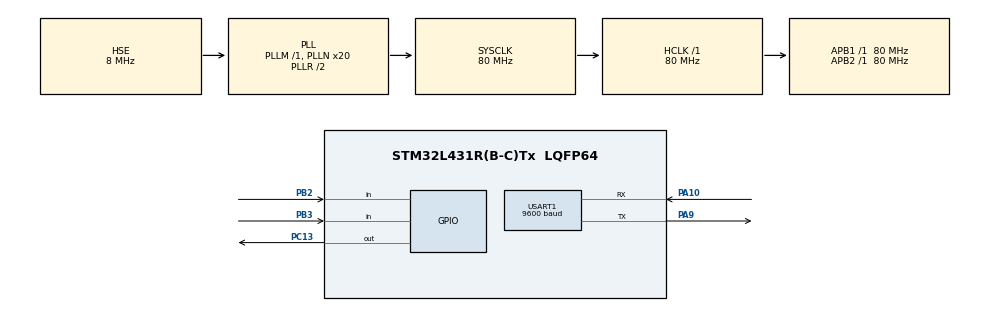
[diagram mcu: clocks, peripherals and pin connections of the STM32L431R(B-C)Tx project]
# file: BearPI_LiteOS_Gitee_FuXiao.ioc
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Mcu.Family=STM32L4
Mcu.Name=STM32L431R(B-C)Tx
Mcu.Package=LQFP64
NVIC.PriorityGroup=NVIC_PRIORITYGROUP_4
NVIC.TIM1_UP_TIM16_IRQn=true\:0\:0\:false\:false\:true\:false\:true
NVIC.TimeBase=TIM1_UP_TIM16_IRQn
NVIC.TimeBaseIP=TIM1
PA10.Mode=Asynchronous
PA10.Signal=USART1_RX
PA13\ (JTMS-SWDIO).Mode=Serial_Wire
PA13\ (JTMS-SWDIO).Signal=SYS_JTMS-SWDIO
PA14\ (JTCK-SWCLK).Mode=Serial_Wire
PA14\ (JTCK-SWCLK).Signal=SYS_JTCK-SWCLK
PA9.Mode=Asynchronous
PA9.Signal=USART1_TX
PB2.GPIO_PuPd=GPIO_PULLUP
PB2.Signal=GPIO_Input
PB3\ (JTDO-TRACESWO).GPIO_PuPd=GPIO_PULLUP
PB3\ (JTDO-TRACESWO).Signal=GPIO_Input
PC13.PinState=GPIO_PIN_SET
PC13.Signal=GPIO_Output
PH0-OSC_IN\ (PH0).Mode=HSE-External-Oscillator
PH0-OSC_IN\ (PH0).Signal=RCC_OSC_IN
PH1-OSC_OUT\ (PH1).Mode=HSE-External-Oscillator
PH1-OSC_OUT\ (PH1).Signal=RCC_OSC_OUT
ProjectManager.HeapSize=0x200
ProjectManager.StackSize=0x400
ProjectManager.TargetToolchain=MDK-ARM V5.27
RCC.ADCFreq_Value=32000000
RCC.AHBFreq_Value=80000000
RCC.APB1Freq_Value=80000000
RCC.APB1TimFreq_Value=80000000
RCC.APB2Freq_Value=80000000
RCC.APB2TimFreq_Value=80000000
RCC.CortexFreq_Value=80000000
RCC.HCLKFreq_Value=80000000
RCC.HSE_VALUE=8000000
RCC.HSI48_VALUE=48000000
RCC.HSI_VALUE=16000000
RCC.LSE_VALUE=32768
RCC.MSI_VALUE=4000000
RCC.PLLN=20
RCC.PLLSourceVirtual=RCC_PLLSOURCE_HSE
RCC.SYSCLKFreq_VALUE=80000000
RCC.SYSCLKSource=RCC_SYSCLKSOURCE_PLLCLK
RCC.VCOOutputFreq_Value=160000000
USART1.BaudRate=9600
USART1.VirtualMode-Asynchronous=VM_ASYNC
VP_SYS_VS_tim1.Mode=TIM1
board=custom

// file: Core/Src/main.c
/* USER CODE BEGIN Header */
/**
  ******************************************************************************
  * @file           : main.c
  * @brief          : Main program body
  ******************************************************************************
  * @attention
  *
  * <h2><center>&copy; Copyright (c) 2022 STMicroelectronics.
  * All rights reserved.</center></h2>
  *
  * This software component is licensed by ST under BSD 3-Clause license,
  * the "License"; You may not use this file except in compliance with the
  * License. You may obtain a copy of the License at:
  *                        opensource.org/licenses/BSD-3-Clause
  *
  ******************************************************************************
  */
/* USER CODE END Header */
#include "main.h"
#include "usart.h"
#include "gpio.h"

/* USER CODE BEGIN Includes */
 /* LiteOS 头文件 */
#include "los_sys.h"
#include "los_task.ph"
/* USER CODE END Includes */

/* USER CODE BEGIN PV */
/* 定义任务句柄 */
UINT32 LED_Task_Handle;
UINT32 Key_Task_Handle;
/* USER CODE END PV */

void SystemClock_Config(void);
/* USER CODE BEGIN PFP */
/* 函数声明 */
static UINT32 AppTaskCreate(void);
static UINT32 Creat_LED_Task(void);
static UINT32 Creat_Key_Task(void);
static void LED_Task(void);
static void Key_Task(void);
/* USER CODE END PFP */

/* USER CODE BEGIN 0 */
/*********************************************************************
  * @ 函数名  ： AppTaskCreate
  * @ 功能说明： 任务创建，为了方便管理，所有的任务创建函数都可以放在这个函数里面
  * @ 参数    ： 无
  * @ 返回值  ： 无
  *******************************************************************/
static UINT32 AppTaskCreate(void)
{
	/* 定义一个返回类型变量，初始化为LOS_OK */
	UINT32 uwRet = LOS_OK;

	uwRet = Creat_LED_Task();
  if (uwRet != LOS_OK)
  {
		printf("LED_Task任务创建失败！失败代码0x%X\n",uwRet);
		return uwRet;
  }

	uwRet = Creat_Key_Task();
  if (uwRet != LOS_OK)
  {
		printf("Key_Task任务创建失败！失败代码0x%X\n",uwRet);
		return uwRet;
  }
	return LOS_OK;
}

/******************************************************************
  * @ 函数名  ： Creat_LED_Task
  * @ 功能说明： 创建LED_Task任务
  * @ 参数    ：
  * @ 返回值  ： 无
  ******************************************************************/
static UINT32 Creat_LED_Task()
{
	//定义一个创建任务的返回类型，初始化为创建成功的返回值
	UINT32 uwRet = LOS_OK;

	//定义一个用于创建任务的参数结构体
	TSK_INIT_PARAM_S task_init_param;

	task_init_param.usTaskPrio = 5;	/* 任务优先级，数值越小，优先级越高 */
	task_init_param.pcName = "LED_Task";/* 任务名 */
	task_init_param.pfnTaskEntry = (TSK_ENTRY_FUNC)LED_Task;/* 任务函数入口 */
	task_init_param.uwStackSize = 1024;		/* 堆栈大小 */

	uwRet = LOS_TaskCreate(&LED_Task_Handle, &task_init_param);/* 创建任务 */
	return uwRet;
}
/*******************************************************************
  * @ 函数名  ： Creat_Key_Task
  * @ 功能说明： 创建Key_Task任务
  * @ 参数    ：
  * @ 返回值  ： 无
  ******************************************************************/
static UINT32 Creat_Key_Task()
{
	// 定义一个创建任务的返回类型，初始化为创建成功的返回值
	UINT32 uwRet = LOS_OK;
	TSK_INIT_PARAM_S task_init_param;

	task_init_param.usTaskPrio = 4;	/* 任务优先级，数值越小，优先级越高 */
	task_init_param.pcName = "Key_Task";	/* 任务名*/
	task_init_param.pfnTaskEntry = (TSK_ENTRY_FUNC)Key_Task;/* 任务函数入口 */
	task_init_param.uwStackSize = 1024;	/* 堆栈大小 */

	uwRet = LOS_TaskCreate(&Key_Task_Handle, &task_init_param);/* 创建任务 */

	return uwRet;
}

/******************************************************************
  * @ 函数名  ： LED_Task
  * @ 功能说明： LED_Task任务实现
  * @ 参数    ： NULL
  * @ 返回值  ： NULL
  *****************************************************************/
static void LED_Task(void)
{
  /* 任务都是一个无限循环，不能返回 */
	while(1)
	{
		HAL_GPIO_TogglePin(GPIOC,GPIO_PIN_13);    //LED1翻转
		printf("LED任务正在运行！\n");
		LOS_TaskDelay(1000);
	}
}
/******************************************************************
  * @ 函数名  ： Key_Task
  * @ 功能说明： Key_Task任务实现
  * @ 参数    ： NULL
  * @ 返回值  ： NULL
  *****************************************************************/
static void Key_Task(void)
{
	UINT32 uwRet = LOS_OK;

	/* 任务都是一个无限循环，不能返回 */
	while(1)
	{
		/* K1 被按下 */
		if( Key_Scan(KEY1_GPIO_PORT,KEY1_GPIO_PIN) == KEY_ON )
		{
			printf("挂起LED任务！\n");
			uwRet = LOS_TaskSuspend(LED_Task_Handle);/* 挂起LED1任务 */
			if(LOS_OK == uwRet)
			{
				printf("挂起LED任务成功！\n");
			}
		}
		/* K2 被按下 */
		else if( Key_Scan(KEY2_GPIO_PORT,KEY2_GPIO_PIN) == KEY_ON )
		{
			printf("恢复LED任务！\n");
			uwRet = LOS_TaskResume(LED_Task_Handle); /* 恢复LED1任务 */
			if(LOS_OK == uwRet)
			{
				printf("恢复LED任务成功！\n");
			}

		}
		LOS_TaskDelay(20);   /* 20ms扫描一次 */
	}
}
/* USER CODE END 0 */

int main(void)
{

  /* MCU Configuration--------------------------------------------------------*/

  /* Reset of all peripherals, Initializes the Flash interface and the Systick. */
  HAL_Init();

  /* Configure the system clock */
  SystemClock_Config();

  /* Initialize all configured peripherals */
  MX_GPIO_Init();
  MX_USART1_UART_Init();
  /* USER CODE BEGIN 2 */
	UINT32 uwRet = LOS_OK;  //定义一个任务创建的返回值，默认为创建成功
/* LiteOS 内核初始化 */
	uwRet = LOS_KernelInit();

  if (uwRet != LOS_OK)
  {
		printf("LiteOS 核心初始化失败！失败代码0x%X\n",uwRet);
		return LOS_NOK;
  }

	uwRet = AppTaskCreate();
	if (uwRet != LOS_OK)
  {
		printf("AppTaskCreate创建任务失败！失败代码0x%X\n",uwRet);
		return LOS_NOK;
  }

  /* 开启LiteOS任务调度 */
  LOS_Start();
  /* USER CODE END 2 */

  /* Infinite loop */
  while (1)
  {

  }
}

void SystemClock_Config(void)
{
  RCC_OscInitTypeDef RCC_OscInitStruct = {0};
  RCC_ClkInitTypeDef RCC_ClkInitStruct = {0};
  RCC_PeriphCLKInitTypeDef PeriphClkInit = {0};

  /** Initializes the RCC Oscillators according to the specified parameters
  * in the RCC_OscInitTypeDef structure.
  */
  RCC_OscInitStruct.OscillatorType = RCC_OSCILLATORTYPE_HSE;
  RCC_OscInitStruct.HSEState = RCC_HSE_ON;
  RCC_OscInitStruct.PLL.PLLState = RCC_PLL_ON;
  RCC_OscInitStruct.PLL.PLLSource = RCC_PLLSOURCE_HSE;
  RCC_OscInitStruct.PLL.PLLM = 1;
  RCC_OscInitStruct.PLL.PLLN = 20;
  RCC_OscInitStruct.PLL.PLLP = RCC_PLLP_DIV7;
  RCC_OscInitStruct.PLL.PLLQ = RCC_PLLQ_DIV2;
  RCC_OscInitStruct.PLL.PLLR = RCC_PLLR_DIV2;
  if (HAL_RCC_OscConfig(&RCC_OscInitStruct) != HAL_OK)
  {
    Error_Handler();
  }
  /** Initializes the CPU, AHB and APB buses clocks
  */
  RCC_ClkInitStruct.ClockType = RCC_CLOCKTYPE_HCLK|RCC_CLOCKTYPE_SYSCLK
                              |RCC_CLOCKTYPE_PCLK1|RCC_CLOCKTYPE_PCLK2;
  RCC_ClkInitStruct.SYSCLKSource = RCC_SYSCLKSOURCE_PLLCLK;
  RCC_ClkInitStruct.AHBCLKDivider = RCC_SYSCLK_DIV1;
  RCC_ClkInitStruct.APB1CLKDivider = RCC_HCLK_DIV1;
  RCC_ClkInitStruct.APB2CLKDivider = RCC_HCLK_DIV1;

  if (HAL_RCC_ClockConfig(&RCC_ClkInitStruct, FLASH_LATENCY_4) != HAL_OK)
  {
    Error_Handler();
  }
  PeriphClkInit.PeriphClockSelection = RCC_PERIPHCLK_USART1;
  PeriphClkInit.Usart1ClockSelection = RCC_USART1CLKSOURCE_PCLK2;
  if (HAL_RCCEx_PeriphCLKConfig(&PeriphClkInit) != HAL_OK)
  {
    Error_Handler();
  }
  /** Configure the main internal regulator output voltage
  */
  if (HAL_PWREx_ControlVoltageScaling(PWR_REGULATOR_VOLTAGE_SCALE1) != HAL_OK)
  {
    Error_Handler();
  }
}

 /**
  * @brief  Period elapsed callback in non blocking mode
  * @note   This function is called  when TIM1 interrupt took place, inside
  * HAL_TIM_IRQHandler(). It makes a direct call to HAL_IncTick() to increment
  * a global variable "uwTick" used as application time base.
  * @param  htim : TIM handle
  * @retval None
  */
void HAL_TIM_PeriodElapsedCallback(TIM_HandleTypeDef *htim)
{
  if (htim->Instance == TIM1) {
    HAL_IncTick();
  }
}

void Error_Handler(void)
{
  __disable_irq();
  while (1)
  {
  }
}

/************************ (C) COPYRIGHT STMicroelectronics *****END OF FILE****/
